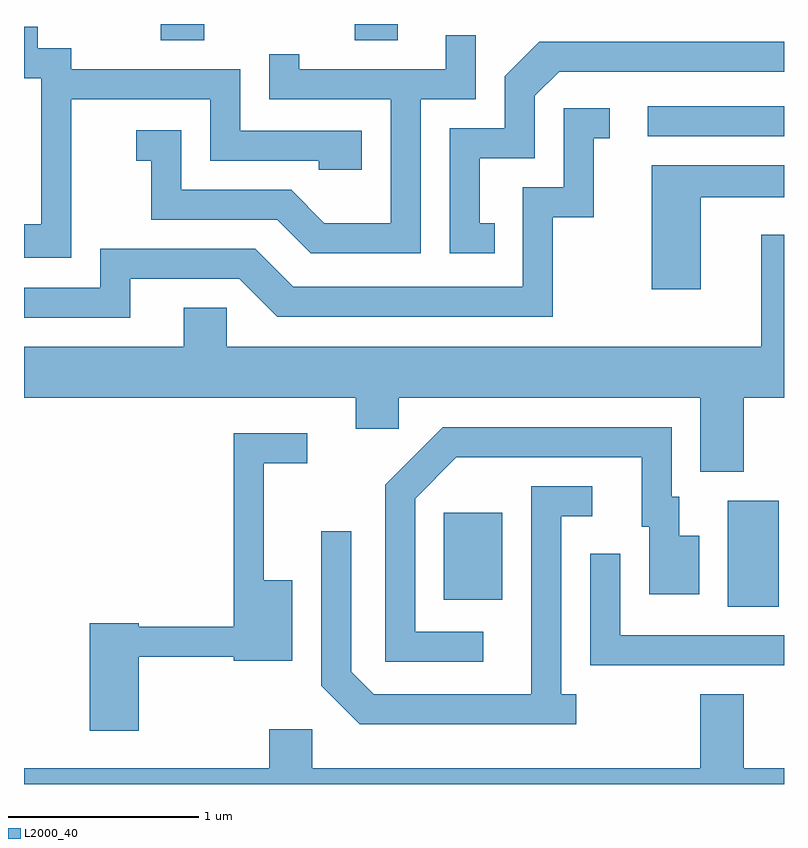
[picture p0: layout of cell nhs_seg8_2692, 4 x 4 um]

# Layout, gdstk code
import gdstk
lib = gdstk.Library(unit=1e-6, precision=1e-09)
def R(c, l, rs):  # rectangles x0, y0, x1, y1
    for r in rs: c.add(gdstk.rectangle(r[:2], r[2:], *l))
def P(c, l, *ps):  # polygons
    for p in ps: c.add(gdstk.Polygon(p, *l))
L2000_40 = (2000, 40)

nhs_seg8_2692 = lib.new_cell('nhs_seg8_2692')
R(nhs_seg8_2692, L2000_40, [(269.316,1875.276,269.584,1875.834), (267.821,1875.311,268.129,1875.769), (268.893,1877.751,269.611,1877.909), (266.331,1878.256,266.559,1878.342), (267.351,1878.256,267.579,1878.342)])
P(nhs_seg8_2692, L2000_40, [(265.859,1877.946),(266.591,1877.946),(266.591,1877.621),(267.161,1877.621),(267.161,1877.576),(267.389,1877.576),(267.389,1877.779),(266.749,1877.779),(266.749,1878.104),(265.859,1878.104),(265.859,1878.214),(265.684,1878.214),(265.684,1878.328),(265.611,1878.328),(265.611,1878.056),(265.701,1878.056),(265.701,1877.289),(265.611,1877.289),(265.611,1877.111),(265.859,1877.111)],
  [(267.699,1877.946),(267.989,1877.946),(267.989,1878.283),(267.831,1878.283),(267.831,1878.104),(267.059,1878.104),(267.059,1878.183),(266.901,1878.183),(266.901,1877.946),(267.541,1877.946),(267.541,1877.294),(267.192,1877.294),(267.017,1877.469),(266.439,1877.469),(266.439,1877.784),(266.203,1877.784),(266.203,1877.621),(266.281,1877.621),(266.281,1877.311),(266.944,1877.311),(267.119,1877.136),(267.699,1877.136)],
  [(268.088,1877.294),(268.009,1877.294),(268.009,1877.636),(268.299,1877.636),(268.299,1877.964),(268.427,1878.091),(269.611,1878.091),(269.611,1878.249),(268.324,1878.249),(268.141,1878.067),(268.141,1877.794),(267.851,1877.794),(267.851,1877.136),(268.088,1877.136)],
  [(266.169,1877.001),(266.744,1877.001),(266.944,1876.801),(268.394,1876.801),(268.394,1877.326),(268.609,1877.326),(268.609,1877.741),(268.693,1877.741),(268.693,1877.899),(268.451,1877.899),(268.451,1877.484),(268.236,1877.484),(268.236,1876.959),(267.027,1876.959),(266.827,1877.159),(266.011,1877.159),(266.011,1876.954),(265.611,1876.954),(265.611,1876.796),(266.169,1876.796)],
  [(269.174,1877.431),(269.611,1877.431),(269.611,1877.599),(268.916,1877.599),(268.916,1876.946),(269.174,1876.946)],
  [(269.399,1876.376),(269.611,1876.376),(269.611,1877.234),(269.491,1877.234),(269.491,1876.644),(266.679,1876.644),(266.679,1876.849),(266.451,1876.849),(266.451,1876.644),(265.611,1876.644),(265.611,1876.376),(267.356,1876.376),(267.356,1876.211),(267.584,1876.211),(267.584,1876.376),(269.171,1876.376),(269.171,1875.986),(269.399,1875.986)],
  [(268.028,1875.144),(267.669,1875.144),(267.669,1875.844),(267.887,1876.061),(268.861,1876.061),(268.861,1875.696),(268.901,1875.696),(268.901,1875.341),(269.164,1875.341),(269.164,1875.649),(269.059,1875.649),(269.059,1875.854),(269.019,1875.854),(269.019,1876.219),(267.814,1876.219),(267.511,1875.917),(267.511,1874.986),(268.028,1874.986)],
  [(266.214,1875.011),(266.716,1875.011),(266.716,1874.991),(267.024,1874.991),(267.024,1875.414),(266.874,1875.414),(266.874,1876.031),(267.103,1876.031),(267.103,1876.189),(266.716,1876.189),(266.716,1875.169),(266.214,1875.169),(266.214,1875.189),(265.956,1875.189),(265.956,1874.621),(266.214,1874.621)],
  [(268.518,1874.814),(268.439,1874.814),(268.439,1875.751),(268.603,1875.751),(268.603,1875.909),(268.281,1875.909),(268.281,1874.814),(267.452,1874.814),(267.334,1874.932),(267.334,1875.673),(267.176,1875.673),(267.176,1874.859),(267.379,1874.656),(268.518,1874.656)],
  [(269.611,1875.124),(268.749,1875.124),(268.749,1875.553),(268.591,1875.553),(268.591,1874.966),(269.611,1874.966)],
  [(269.611,1874.424),(269.399,1874.424),(269.399,1874.814),(269.171,1874.814),(269.171,1874.424),(267.129,1874.424),(267.129,1874.629),(266.901,1874.629),(266.901,1874.424),(265.611,1874.424),(265.611,1874.342),(269.611,1874.342)])

lib.write_gds('nhs_seg8_2692.gds')
